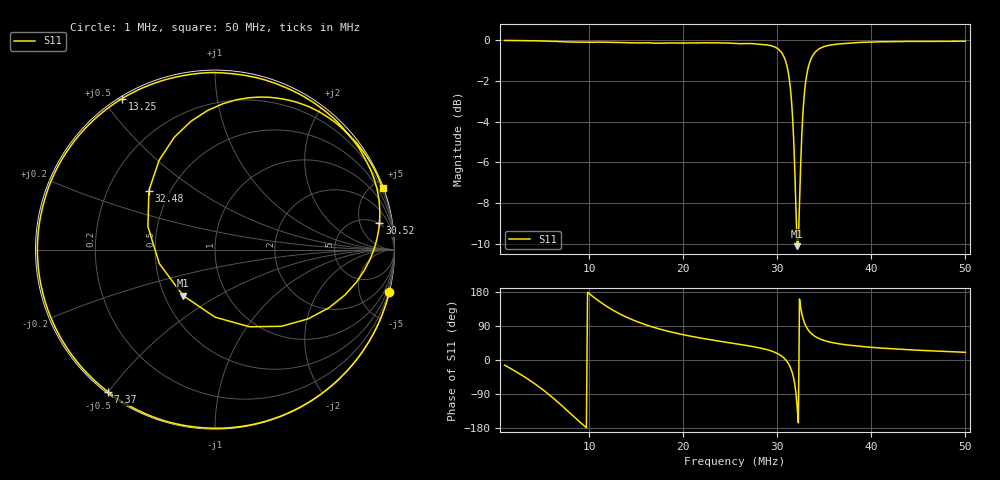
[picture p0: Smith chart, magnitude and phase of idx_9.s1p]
# HZ S RI R 50
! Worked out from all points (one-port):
!   401 points, 1 MHz to 50 MHz, reference 50 ohm
!   lowest |S11| = -10.1 dB at 32.12 MHz (marker M1), VSWR 1.91, Z = 31.1 - j17.6 ohm
!   |S11| at or under -10 dB: 32.10615 MHz to 32.1816 MHz (75.46 kHz wide, 0.235 % of centre)
!   S11 on the Smith chart (normalised r, x): 1 MHz: 0.02, -8.35; 7.37 MHz: 0.01, -0.50; 13.25 MHz: 0.01, +0.56; 30.52 MHz: 5, +10; 32.48 MHz: 0.38, +0.33; 50 MHz: 0.07, +5.59
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1000000  0.9712 -0.236
2960000  0.7409 -0.6695
4797500  0.286 -0.9549
6022500  -0.1295 -0.9859
7125000  -0.5167 -0.8473
7370000  -0.595 -0.7936
8595000  -0.8946 -0.4243
9820000  -0.9894 0.0208
1.1535e7  -0.8276 0.5428
1.325e7  -0.5182 0.841
1.58225e7  -0.0779 0.9831
1.9375e7  0.336 0.9262
2.55e7  0.7168 0.6726
2.893e7  0.867 0.4441
3.05225e7  0.9163 0.1465
3.1135e7  0.834 -0.1125
3.1625e7  0.5187 -0.386
3.187e7  0.1925 -0.4301
3.2115e7  -0.1778 -0.2563
3.236e7  -0.3739 0.1289
3.24825e7  -0.3682 0.3291
3.285e7  -0.1332 0.7156
3.334e7  0.19 0.8462
3.39525e7  0.4194 0.8306
3.481e7  0.5801 0.768
3.775e7  0.7676 0.6167
4.3875e7  0.8846 0.454
5e7  0.9337 0.345
